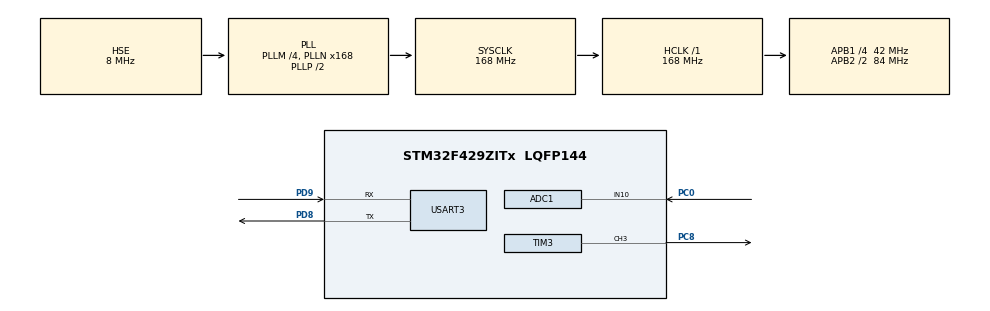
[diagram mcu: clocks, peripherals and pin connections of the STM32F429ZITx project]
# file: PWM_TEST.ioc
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ADC1.Channel-0\#ChannelRegularConversion=ADC_CHANNEL_10
ADC1.NbrOfConversionFlag=1
ADC1.Rank-0\#ChannelRegularConversion=1
ADC1.Resolution=ADC_RESOLUTION_8B
ADC1.SamplingTime-0\#ChannelRegularConversion=ADC_SAMPLETIME_3CYCLES
ADC1.master=1
Mcu.Family=STM32F4
Mcu.Name=STM32F429ZITx
Mcu.Package=LQFP144
NVIC.ADC_IRQn=true\:0\:0\:false\:true\:true\:2\:true\:true\:true
NVIC.PriorityGroup=NVIC_PRIORITYGROUP_4
NVIC.TIM3_IRQn=true\:0\:0\:false\:true\:true\:3\:true\:true\:true
NVIC.USART3_IRQn=true\:0\:0\:false\:true\:true\:1\:true\:true\:true
PC0.Signal=ADCx_IN10
PC14/OSC32_IN.Mode=LSE-External-Oscillator
PC14/OSC32_IN.Signal=RCC_OSC32_IN
PC15/OSC32_OUT.Mode=LSE-External-Oscillator
PC15/OSC32_OUT.Signal=RCC_OSC32_OUT
PC8.Signal=S_TIM3_CH3
PD8.Mode=Asynchronous
PD8.Signal=USART3_TX
PD9.Mode=Asynchronous
PD9.Signal=USART3_RX
PH0/OSC_IN.Mode=HSE-External-Clock-Source
PH0/OSC_IN.Signal=RCC_OSC_IN
PH1/OSC_OUT.Mode=HSE-External-Clock-Source
PH1/OSC_OUT.Signal=RCC_OSC_OUT
ProjectManager.HeapSize=0x200
ProjectManager.StackSize=0x400
ProjectManager.TargetToolchain=STM32CubeIDE
RCC.48MHZClocksFreq_Value=84000000
RCC.AHBFreq_Value=168000000
RCC.APB1CLKDivider=RCC_HCLK_DIV4
RCC.APB1Freq_Value=42000000
RCC.APB1TimFreq_Value=84000000
RCC.APB2CLKDivider=RCC_HCLK_DIV2
RCC.APB2Freq_Value=84000000
RCC.APB2TimFreq_Value=168000000
RCC.CortexFreq_Value=168000000
RCC.HCLKFreq_Value=168000000
RCC.HSE_VALUE=8000000
RCC.HSI_VALUE=16000000
RCC.PLLM=4
RCC.PLLN=168
RCC.PLLSourceVirtual=RCC_PLLSOURCE_HSE
RCC.SYSCLKFreq_VALUE=168000000
RCC.SYSCLKSource=RCC_SYSCLKSOURCE_PLLCLK
RCC.VCOOutputFreq_Value=336000000
SH.ADCx_IN10.0=ADC1_IN10,IN10
SH.S_TIM3_CH3.0=TIM3_CH3,PWM Generation3 CH3
TIM3.Channel-PWM\ Generation3\ CH3=TIM_CHANNEL_3
TIM3.Period=2000-1
TIM3.Prescaler=840-1
TIM3.Pulse-PWM\ Generation3\ CH3=60-1
USART3.VirtualMode=VM_ASYNC
VP_TIM3_VS_ClockSourceINT.Mode=Internal
board=custom

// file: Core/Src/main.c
/* USER CODE BEGIN Header */
/**
  ******************************************************************************
  * @file           : main.c
  * @brief          : Main program body
  ******************************************************************************
  * @attention
  *
  * Copyright (c) 2023 STMicroelectronics.
  * All rights reserved.
  *
  * This software is licensed under terms that can be found in the LICENSE file
  * in the root directory of this software component.
  * If no LICENSE file comes with this software, it is provided AS-IS.
  *
  ******************************************************************************
  */
/* USER CODE END Header */
#include "main.h"

/* USER CODE BEGIN PD */
int adc_value = 0;
/* USER CODE END PD */

ADC_HandleTypeDef hadc1;

TIM_HandleTypeDef htim3;

UART_HandleTypeDef huart3;

void SystemClock_Config(void);
static void MX_GPIO_Init(void);
static void MX_TIM3_Init(void);
static void MX_ADC1_Init(void);
static void MX_USART3_UART_Init(void);
static void MX_NVIC_Init(void);
/* USER CODE BEGIN PFP */
//printf
int _write(int file, char *ptr, int len)
{
	HAL_UART_Transmit(&huart3, (uint8_t *)ptr, len, 500);

	return len;
}
int __io_putchar(int ch)
{
	HAL_UART_Transmit(&huart3, (uint8_t *)&ch, 1, 1000);
	return ch;
}

//scanf
int _read(int file, char *ptr, int len)
{
	HAL_UART_Receive(&huart3, (unsigned char*)ptr, len, HAL_MAX_DELAY);
	return len;
}
int __io_getchar(void)
{
	uint8_t ch = 0;
	HAL_UART_Receive(&huart3, (uint8_t *)&ch, 1, HAL_MAX_DELAY);
	return ch;
}

/* USER CODE END PFP */

/* USER CODE BEGIN 0 */
int scaling(int x)
  {
	if((25*x)*10/1023 < 25) return 25;
	return (25*x)*10/1023;
  }
/* USER CODE END 0 */

int main(void)
{

  /* MCU Configuration--------------------------------------------------------*/

  /* Reset of all peripherals, Initializes the Flash interface and the Systick. */
  HAL_Init();

  /* Configure the system clock */
  SystemClock_Config();

  /* Initialize all configured peripherals */
  MX_GPIO_Init();
  MX_TIM3_Init();
  MX_ADC1_Init();
  MX_USART3_UART_Init();

  /* Initialize interrupts */
  MX_NVIC_Init();
  /* USER CODE BEGIN 2 */
  HAL_ADC_Start_IT(&hadc1);
  HAL_TIM_PWM_Start(&htim3, TIM_CHANNEL_3);	//PWM 시작
  uint16_t value = 2;

  /* USER CODE END 2 */

  /* Infinite loop */
  /* USER CODE BEGIN WHILE */
  while (1)
  {

	  HAL_ADC_Start_IT(&hadc1);

	  //CCR값 조절하여 duty ratio 조절하여 서보모터 각도를 정함.
	  TIM3 -> CCR3 = scaling(adc_value); //레지스터를 직접 제어하는 코드임. 값을 넣으면 바로 타이머의 pulse를 바꿔줄 수 있음.
//	  value+=1;
//	  if(TIM3 -> CCR3 > 30) value = 2;
//	  HAL_Delay(100);

	  printf("joystick: %d , scaling value : %d\r\n", adc_value, scaling(adc_value));
    /* USER CODE END WHILE */

  }
}

void SystemClock_Config(void)
{
  RCC_OscInitTypeDef RCC_OscInitStruct = {0};
  RCC_ClkInitTypeDef RCC_ClkInitStruct = {0};

  /** Configure the main internal regulator output voltage
  */
  __HAL_RCC_PWR_CLK_ENABLE();
  __HAL_PWR_VOLTAGESCALING_CONFIG(PWR_REGULATOR_VOLTAGE_SCALE1);

  /** Initializes the RCC Oscillators according to the specified parameters
  * in the RCC_OscInitTypeDef structure.
  */
  RCC_OscInitStruct.OscillatorType = RCC_OSCILLATORTYPE_HSE;
  RCC_OscInitStruct.HSEState = RCC_HSE_BYPASS;
  RCC_OscInitStruct.PLL.PLLState = RCC_PLL_ON;
  RCC_OscInitStruct.PLL.PLLSource = RCC_PLLSOURCE_HSE;
  RCC_OscInitStruct.PLL.PLLM = 4;
  RCC_OscInitStruct.PLL.PLLN = 168;
  RCC_OscInitStruct.PLL.PLLP = RCC_PLLP_DIV2;
  RCC_OscInitStruct.PLL.PLLQ = 4;
  if (HAL_RCC_OscConfig(&RCC_OscInitStruct) != HAL_OK)
  {
    Error_Handler();
  }

  /** Initializes the CPU, AHB and APB buses clocks
  */
  RCC_ClkInitStruct.ClockType = RCC_CLOCKTYPE_HCLK|RCC_CLOCKTYPE_SYSCLK
                              |RCC_CLOCKTYPE_PCLK1|RCC_CLOCKTYPE_PCLK2;
  RCC_ClkInitStruct.SYSCLKSource = RCC_SYSCLKSOURCE_PLLCLK;
  RCC_ClkInitStruct.AHBCLKDivider = RCC_SYSCLK_DIV1;
  RCC_ClkInitStruct.APB1CLKDivider = RCC_HCLK_DIV4;
  RCC_ClkInitStruct.APB2CLKDivider = RCC_HCLK_DIV2;

  if (HAL_RCC_ClockConfig(&RCC_ClkInitStruct, FLASH_LATENCY_5) != HAL_OK)
  {
    Error_Handler();
  }
}

/**
  * @brief NVIC Configuration.
  * @retval None
  */
static void MX_NVIC_Init(void)
{
  /* USART3_IRQn interrupt configuration */
  HAL_NVIC_SetPriority(USART3_IRQn, 0, 0);
  HAL_NVIC_EnableIRQ(USART3_IRQn);
  /* ADC_IRQn interrupt configuration */
  HAL_NVIC_SetPriority(ADC_IRQn, 0, 0);
  HAL_NVIC_EnableIRQ(ADC_IRQn);
  /* TIM3_IRQn interrupt configuration */
  HAL_NVIC_SetPriority(TIM3_IRQn, 0, 0);
  HAL_NVIC_EnableIRQ(TIM3_IRQn);
}

static void MX_ADC1_Init(void)
{

  ADC_ChannelConfTypeDef sConfig = {0};

  /** Configure the global features of the ADC (Clock, Resolution, Data Alignment and number of conversion)
  */
  hadc1.Instance = ADC1;
  hadc1.Init.ClockPrescaler = ADC_CLOCK_SYNC_PCLK_DIV4;
  hadc1.Init.Resolution = ADC_RESOLUTION_10B;
  hadc1.Init.ScanConvMode = DISABLE;
  hadc1.Init.ContinuousConvMode = DISABLE;
  hadc1.Init.DiscontinuousConvMode = DISABLE;
  hadc1.Init.ExternalTrigConvEdge = ADC_EXTERNALTRIGCONVEDGE_NONE;
  hadc1.Init.ExternalTrigConv = ADC_SOFTWARE_START;
  hadc1.Init.DataAlign = ADC_DATAALIGN_RIGHT;
  hadc1.Init.NbrOfConversion = 1;
  hadc1.Init.DMAContinuousRequests = DISABLE;
  hadc1.Init.EOCSelection = ADC_EOC_SINGLE_CONV;
  if (HAL_ADC_Init(&hadc1) != HAL_OK)
  {
    Error_Handler();
  }

  /** Configure for the selected ADC regular channel its corresponding rank in the sequencer and its sample time.
  */
  sConfig.Channel = ADC_CHANNEL_10;
  sConfig.Rank = 1;
  sConfig.SamplingTime = ADC_SAMPLETIME_3CYCLES;
  if (HAL_ADC_ConfigChannel(&hadc1, &sConfig) != HAL_OK)
  {
    Error_Handler();
  }

}

static void MX_TIM3_Init(void)
{

  TIM_ClockConfigTypeDef sClockSourceConfig = {0};
  TIM_MasterConfigTypeDef sMasterConfig = {0};
  TIM_OC_InitTypeDef sConfigOC = {0};

  htim3.Instance = TIM3;
  htim3.Init.Prescaler = 840-1;
  htim3.Init.CounterMode = TIM_COUNTERMODE_UP;
  htim3.Init.Period = 2000-1;
  htim3.Init.ClockDivision = TIM_CLOCKDIVISION_DIV1;
  htim3.Init.AutoReloadPreload = TIM_AUTORELOAD_PRELOAD_DISABLE;
  if (HAL_TIM_Base_Init(&htim3) != HAL_OK)
  {
    Error_Handler();
  }
  sClockSourceConfig.ClockSource = TIM_CLOCKSOURCE_INTERNAL;
  if (HAL_TIM_ConfigClockSource(&htim3, &sClockSourceConfig) != HAL_OK)
  {
    Error_Handler();
  }
  if (HAL_TIM_PWM_Init(&htim3) != HAL_OK)
  {
    Error_Handler();
  }
  sMasterConfig.MasterOutputTrigger = TIM_TRGO_RESET;
  sMasterConfig.MasterSlaveMode = TIM_MASTERSLAVEMODE_DISABLE;
  if (HAL_TIMEx_MasterConfigSynchronization(&htim3, &sMasterConfig) != HAL_OK)
  {
    Error_Handler();
  }
  sConfigOC.OCMode = TIM_OCMODE_PWM1;
  sConfigOC.Pulse = 60-1;
  sConfigOC.OCPolarity = TIM_OCPOLARITY_HIGH;
  sConfigOC.OCFastMode = TIM_OCFAST_DISABLE;
  if (HAL_TIM_PWM_ConfigChannel(&htim3, &sConfigOC, TIM_CHANNEL_3) != HAL_OK)
  {
    Error_Handler();
  }
  HAL_TIM_MspPostInit(&htim3);

}

static void MX_USART3_UART_Init(void)
{

  huart3.Instance = USART3;
  huart3.Init.BaudRate = 115200;
  huart3.Init.WordLength = UART_WORDLENGTH_8B;
  huart3.Init.StopBits = UART_STOPBITS_1;
  huart3.Init.Parity = UART_PARITY_NONE;
  huart3.Init.Mode = UART_MODE_TX_RX;
  huart3.Init.HwFlowCtl = UART_HWCONTROL_NONE;
  huart3.Init.OverSampling = UART_OVERSAMPLING_16;
  if (HAL_UART_Init(&huart3) != HAL_OK)
  {
    Error_Handler();
  }

}

static void MX_GPIO_Init(void)
{

  /* GPIO Ports Clock Enable */
  __HAL_RCC_GPIOC_CLK_ENABLE();
  __HAL_RCC_GPIOH_CLK_ENABLE();
  __HAL_RCC_GPIOD_CLK_ENABLE();

}

/* USER CODE BEGIN 4 */
void HAL_ADC_ConvCpltCallback(ADC_HandleTypeDef* hadc)
{
	if(hadc -> Instance == ADC1)
	{
		adc_value = HAL_ADC_GetValue(&hadc1);
	}
}

/* USER CODE END 4 */

void Error_Handler(void)
{
  __disable_irq();
  while (1)
  {
  }
}
